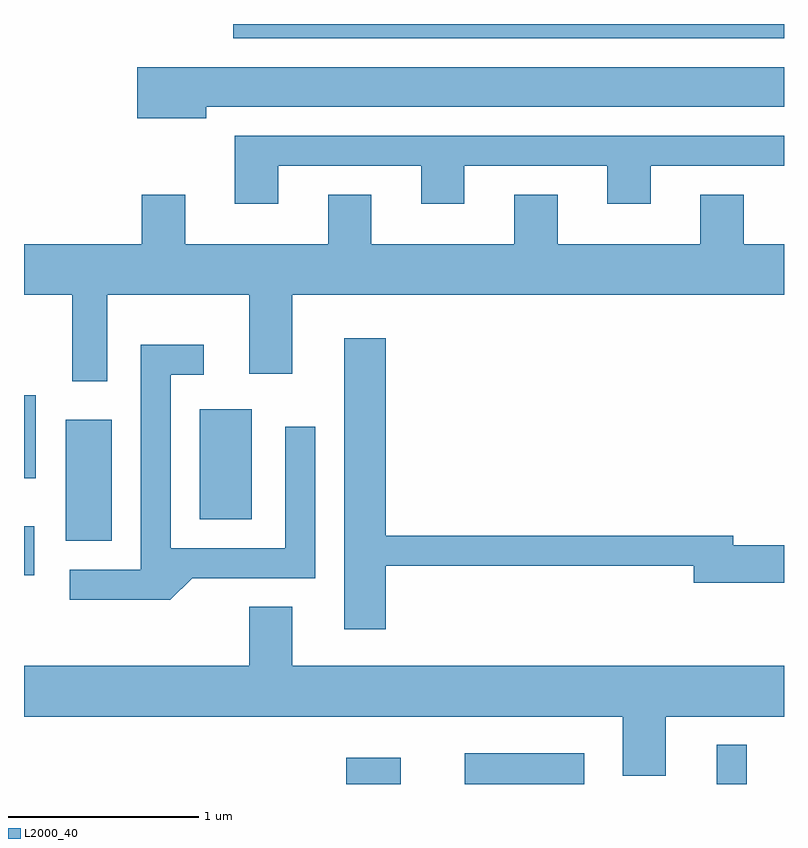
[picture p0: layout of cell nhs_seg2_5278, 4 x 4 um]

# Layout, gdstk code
import gdstk
lib = gdstk.Library(unit=1e-6, precision=1e-09)
def R(c, l, rs):  # rectangles x0, y0, x1, y1
    for r in rs: c.add(gdstk.rectangle(r[:2], r[2:], *l))
def P(c, l, *ps):  # polygons
    for p in ps: c.add(gdstk.Polygon(p, *l))
L2000_40 = (2000, 40)

nhs_seg2_5278 = lib.new_cell('nhs_seg2_5278')
R(nhs_seg2_5278, L2000_40, [(343.306,985.802,343.594,985.939), (343.931,985.802,344.559,985.964), (345.256,985.802,345.414,986.008), (341.611,986.901,341.664,987.159), (341.831,987.081,342.074,987.719), (342.536,987.196,342.809,987.774), (341.611,987.411,341.674,987.849), (342.711,989.726,345.611,989.802)])
P(nhs_seg2_5278, L2000_40, [(342.569,989.366),(345.611,989.366),(345.611,989.574),(342.206,989.574),(342.206,989.306),(342.569,989.306)],
  [(342.949,989.056),(343.701,989.056),(343.701,988.856),(343.929,988.856),(343.929,989.056),(344.681,989.056),(344.681,988.856),(344.909,988.856),(344.909,989.056),(345.611,989.056),(345.611,989.214),(342.721,989.214),(342.721,988.856),(342.949,988.856)],
  [(342.049,988.376),(342.796,988.376),(342.796,987.961),(343.024,987.961),(343.024,988.376),(345.611,988.376),(345.611,988.644),(345.399,988.644),(345.399,988.904),(345.171,988.904),(345.171,988.644),(344.419,988.644),(344.419,988.904),(344.191,988.904),(344.191,988.644),(343.439,988.644),(343.439,988.904),(343.211,988.904),(343.211,988.644),(342.459,988.644),(342.459,988.904),(342.231,988.904),(342.231,988.644),(341.611,988.644),(341.611,988.376),(341.866,988.376),(341.866,987.921),(342.049,987.921)],
  [(343.514,986.951),(345.136,986.951),(345.136,986.861),(345.611,986.861),(345.611,987.059),(345.344,987.059),(345.344,987.109),(343.514,987.109),(343.514,988.149),(343.296,988.149),(343.296,986.616),(343.514,986.616)],
  [(342.497,986.886),(343.144,986.886),(343.144,987.683),(342.986,987.683),(342.986,987.044),(342.384,987.044),(342.384,987.956),(342.558,987.956),(342.558,988.114),(342.226,988.114),(342.226,986.929),(341.853,986.929),(341.853,986.771),(342.382,986.771)],
  [(344.989,986.156),(345.611,986.156),(345.611,986.424),(343.024,986.424),(343.024,986.734),(342.796,986.734),(342.796,986.424),(341.611,986.424),(341.611,986.156),(344.761,986.156),(344.761,985.846),(344.989,985.846)])

lib.write_gds('nhs_seg2_5278.gds')
